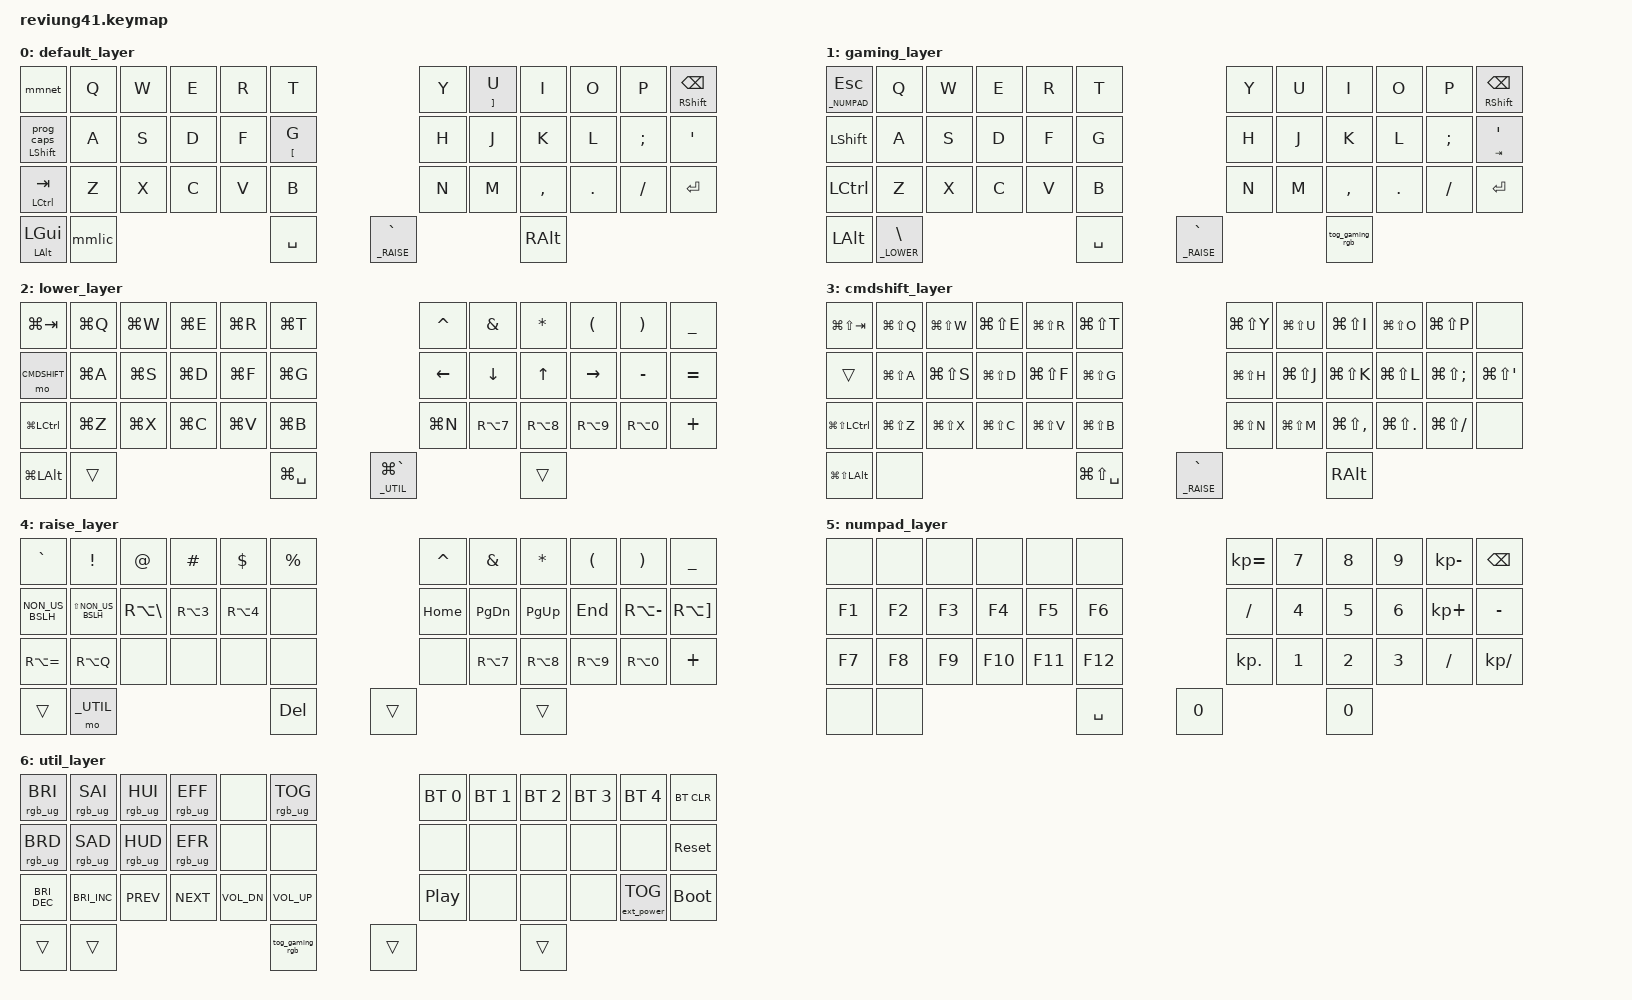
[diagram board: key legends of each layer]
/*
 * Copyright (c) 2020 The ZMK Contributors
 *
 * SPDX-License-Identifier: MIT
 */

#include <behaviors.dtsi>
#include <dt-bindings/zmk/keys.h>
#include <dt-bindings/zmk/bt.h>
#include <dt-bindings/zmk/rgb.h>
#include <dt-bindings/zmk/ext_power.h>

// For QMK:
// KC_NONUS_BSLASH (\|) is equivalent to ["é] key in Turkish keyboards.
// KC_GRV (~ `) is equivalent to [<>|] key in Turkish keyboards.
// KC_SCLN is Turkish s [şŞ] key
// KC_QUOT is Turkish i [iİ] key
// KC_COMM is Turkish o [öÖ] key
// KC_DOT is Turkish c [çÇ] key

// For ZMK:
// NON_US_BACKSLASH (\|) is equivalent to ["é] key in Turkish keyboards.
// GRAVE (~ `) is equivalent to [<>|] key in Turkish keyboards.
// SEMI (;) is Turkish s [şŞ] key
// SQT (') is Turkish i [iİ] key
// COMMA (,) is Turkish o [öÖ] key
// DOT (.) is Turkish c [çÇ] key
// FSLH (/) is Turkish dot [.:] key
// BSLH (\) is Turkish comma (,;) key

// Custom shortcuts specific to Turkish layout
#define _CURLY_OPEN RA(N7)
#define _CURLY_CLOSE RA(N0)
#define _AT_SIGN RA(Q)
#define _SQUARE_OPEN RA(N8)
#define _SQUARE_CLOSE RA(N9)
#define _DOLLAR_SIGN RA(N4)
#define _BACKSLASH RA(MINUS)
#define _VERTICAL_PIPE RA(EQUAL)
#define _BACKTICK RA(BACKSLASH)
#define _TILDE RA(RIGHT_BRACKET)
#define _NUMBER_SIGN RA(N3) //hashtag sign
#define _LOCKSCREEN LC(LS(C_PWR)) // Screen Lock shortcut for OSX

// Layers
#define _QWERTY 0
#define _GAMING 1
#define _LOWER 2
#define _CMDSHIFT 3
#define _RAISE 4
#define _NUMPAD 5
#define _UTIL 6


/ {
        behaviors {
                h_alt: hold_alternative {
                        compatible = "zmk,behavior-hold-tap";
                        #binding-cells = <2>;
                        tapping-term-ms = <130>;
                        quick-tap-ms = <0>;
                        flavor = "tap-preferred";
                        bindings = <&kp>, <&kp>;
                };
                hom: hold_only_multiple {
                        compatible = "zmk,behavior-hold-tap";
                        #binding-cells = <2>;
                        flavor = "tap-unless-interrupted";
                        tapping-term-ms = <300>;                        // <---[[produces tap if held longer than tapping-term-ms]]
                        quick-tap-ms = <200>;
                        bindings = <&kp>, <&kp>;
                };
                optcmd: option_command {
                        compatible = "zmk,behavior-mod-morph";
                        #binding-cells = <0>;
                        bindings = <&mmlic>, <&kp LGUI>;
                        mods = <(MOD_LALT)>;
                };
                procmd: pro_command {
                        compatible = "zmk,behavior-hold-tap";
                        #binding-cells = <2>;
                        tapping-term-ms = <1000>;
                        quick-tap-ms = <150>;
                        flavor = "balanced";
                        bindings = <&mo>, <&kp>;
                        hold-while-undecided;
                };
                mmlic: mm_lower_instant_comma {
                        compatible = "zmk,behavior-mod-morph";
                        #binding-cells = <0>;
                        bindings = <&lt _LOWER BSLH>, <&kp BSLH>;
                        mods = <(MOD_RSFT)>;
                        keep-mods = <(MOD_RSFT)>;
                }; 
                mmnet: mm_numpad_escape_tab {
                        compatible = "zmk,behavior-mod-morph";
                        #binding-cells = <0>;
                        bindings = <&lt _NUMPAD ESC>, <&kp TAB>;
                        mods = <(MOD_LALT|MOD_LSFT|MOD_LCTL|MOD_LGUI)>;
                        keep-mods = <(MOD_LALT|MOD_LSFT|MOD_LCTL|MOD_LGUI)>;
                }; 
                prog_caps: behavior_prog_caps_word {
                        compatible = "zmk,behavior-caps-word";
                        #binding-cells = <0>;
                        continue-list = <PLUS>;
                };
                mt_cw: mod_tap_caps_word {
                        compatible = "zmk,behavior-hold-tap";
                        #binding-cells = <2>;
                        tapping-term-ms = <100>;
                        flavor = "hold-preferred";
                        bindings = <&kp>, <&prog_caps>;
                };
                fmt: faster_mod_tap {
                        compatible = "zmk,behavior-hold-tap";
                        #binding-cells = <2>;
                        tapping-term-ms = <100>;
                        flavor = "hold-preferred";
                        bindings = <&kp>, <&kp>;
                };

                tog_gaming_rgb: tog_gaming_rgb {
                compatible = "zmk,behavior-macro";
                #binding-cells = <0>;
                wait-ms = <0>;
                tap-ms = <0>;
                bindings =
                        <&macro_tap &tog _GAMING>,
                        <&macro_tap &rgb_ug RGB_TOG>;
                };
        };



        keymap {
                compatible = "zmk,keymap";

                default_layer {
// -------------------------------------------------------------------------------------
// |Npd/ESC/T|  Q  |  W  |  E  |  R  |  T  |   |  Y  |  U/Ü |  I  |  O  |  P  | RSft/BKSP|
// |Sft/Cps  |  A  |  S  |  D  |  F  | G/Ğ |   |  H  |  J   |  K  |  L  |  Ş  |    İ     |
// |LCtlTab  |  Z  |  X  |  C  |  V  |  B  |   |  N  |  M   |  Ö  |  Ç  |  .  | RCtlEnt  |
//                      |LGUI/ALT | LWR/, |  SPC  | RSE/"  | ALT  |
                        bindings = <
   &mmnet  &kp Q  &kp W  &kp E  &kp R  &kp T                &kp Y  &h_alt RIGHT_BRACKET U  &kp I  &kp O  &kp P  &hom RSHFT BSPC
   &mt_cw LSHFT 0  &kp A  &kp S  &kp D  &kp F  &h_alt LEFT_BRACKET G      &kp H  &kp J  &kp K  &kp L  &kp SEMI  &kp SQT
   &fmt LCTRL TAB  &kp Z  &kp X  &kp C  &kp V  &kp B                 &kp N  &kp M  &kp COMMA  &kp DOT  &kp FSLH  &kp RET
        &h_alt LALT LGUI        &mmlic      &kp SPACE    &lt _RAISE GRAVE    &kp RALT
                        >;
                };


                gaming_layer {
// -------------------------------------------------------------------------------------
// |Npd/ESC/T|  Q  |  W  |  E  |  R  |  T  |   |  Y  |  U   |  I  |  O  |  P  | RSft/BKSP|
// |  Sft    |  A  |  S  |  D  |  F  |  G  |   |  H  |  J   |  K  |  L  |  Ş  |   İ/TAB  |
// |  LCtl   |  Z  |  X  |  C  |  V  |  B  |   |  N  |  M   |  Ö  |  Ç  |  .  | RCtlEnt  |
//                     |   ALT   | LWR/, |  SPC  |  RSE/"  | Tog Gaming  |
                        bindings = <
   &lt _NUMPAD ESC  &kp Q  &kp W  &kp E  &kp R  &kp T                &kp Y  &kp U  &kp I  &kp O  &kp P  &hom RSHFT BSPC
   &kp LSHFT &kp A  &kp S  &kp D  &kp F  &kp G      &kp H  &kp J  &kp K  &kp L  &kp SEMI  &h_alt TAB SQT
   &kp LCTRL &kp Z  &kp X  &kp C  &kp V  &kp B                 &kp N  &kp M  &kp COMMA  &kp DOT  &kp FSLH  &kp RET
        &kp LALT       &lt _LOWER BSLH          &kp SPACE    &lt _RAISE GRAVE       &tog_gaming_rgb
                        >;
                };
/*

                lower_layer {
// -------------------------------------------------------------------------------
// |  "  |  !  |  '  |  ^  |  +  |  %  |   |  &  |  /  |  (  |  )  |  =  |   ?   |
// |  <  |  >  |  `  |  #  |  $  |     |   |Left |Down | Up  |Right|  *  |   -   |            // &kp LEFT_BRACKET  &kp RIGHT_BRACKET for Ğ and Ü
// | "|" |  @  |     |     |     |     |   |     | "{" | "[" | "]" | "}" |   _   |
//                       |      |    |  DEL | UTIL | F14 |
                        bindings = <
   &kp GRAVE     &kp EXCL  &kp AT  &kp HASH  &kp DLLR  &kp PRCNT                                       &kp CARET  &kp AMPS  &kp ASTERISK  &kp LPAR &kp RPAR  &kp UNDERSCORE
   &kp NON_US_BSLH  &kp LS(NON_US_BSLH) &kp _BACKTICK  &kp _NUMBER_SIGN  &kp _DOLLAR_SIGN  &none        &kp LEFT  &kp DOWN  &kp UP  &kp RIGHT &kp MINUS  &kp EQUAL
   &kp _VERTICAL_PIPE  &kp _AT_SIGN  &none  &none  &none  &none                                                       &none  &kp _CURLY_OPEN  &kp _SQUARE_OPEN  &kp _SQUARE_CLOSE  &kp _CURLY_CLOSE  &kp PLUS
                                                      &kp LGUI  &trans    &kp DEL    &mo _UTIL  &trans
                        >;
                };
*/

                lower_layer {
// -------------------------------------------------------------------------------
// |  "  |  !  |  '  |  ^  |  +  |  %  |   |  &  |  /  |  (  |  )  |  =  |   ?   |
// |  <  |  >  |  `  |  #  |  $  |     |   |Left |Down | Up  |Right|  *  |   -   |            // &kp LEFT_BRACKET  &kp RIGHT_BRACKET for Ğ and Ü
// | "|" |  @  |     |     |     |     |   |     | "{" | "[" | "]" | "}" |   _   |
//                       |      |    |  DEL | UTIL | F14 |
                        bindings = <
   &kp LG(TAB)     &kp LG(Q)  &kp LG(W)  &kp LG(E)  &kp LG(R)  &kp LG(T)                    &kp CARET  &kp AMPS  &kp ASTERISK  &kp LPAR &kp RPAR  &kp UNDERSCORE
   &mo _CMDSHIFT &kp LG(A) &kp LG(S) &kp LG(D) &kp LG(F) &kp LG(G)                     &kp LEFT  &kp DOWN  &kp UP  &kp RIGHT &kp MINUS  &kp EQUAL
   &kp LG(LCTRL)  &kp LG(Z) &kp LG(X) &kp LG(C) &kp LG(V) &kp LG(B)                  &kp LG(N)  &kp _CURLY_OPEN  &kp _SQUARE_OPEN  &kp _SQUARE_CLOSE  &kp _CURLY_CLOSE  &kp PLUS
                                             &kp LG(LALT)  &trans    &kp LG(SPACE)    &lt _UTIL LG(GRAVE) &trans
                        >;
                };

                cmdshift_layer {
// -------------------------------------------------------------------------------------
// |Npd/ESC/T|  Q  |  W  |  E  |  R  |  T  |   |  Y  |  U/Ü |  I  |  O  |  P  | RSft/BKSP|
// |Sft/Cps  |  A  |  S  |  D  |  F  | G/Ğ |   |  H  |  J   |  K  |  L  |  Ş  |    İ     |
// |LCtlTab  |  Z  |  X  |  C  |  V  |  B  |   |  N  |  M   |  Ö  |  Ç  |  .  | RCtlEnt  |
//                      |LGUI/ALT | LWR/, |  SPC  | RSE/"  | ALT  |
                        bindings = <
   &kp LG(LS(TAB))  &kp LG(LS(Q))  &kp LG(LS(W))  &kp LG(LS(E))  &kp LG(LS(R))  &kp LG(LS(T))                &kp LG(LS(Y))  &kp LG(LS(U))  &kp LG(LS(I))  &kp LG(LS(O))  &kp LG(LS(P))  &none
   &trans        &kp LG(LS(A))  &kp LG(LS(S))  &kp LG(LS(D))  &kp LG(LS(F))  &kp LG(LS(G))                  &kp LG(LS(H))  &kp LG(LS(J))  &kp LG(LS(K))  &kp LG(LS(L))  &kp LG(LS(SEMI))  &kp LG(LS(SQT))
   &kp LG(LS(LCTRL)) &kp LG(LS(Z))  &kp LG(LS(X))  &kp LG(LS(C))  &kp LG(LS(V))  &kp LG(LS(B))           &kp LG(LS(N))  &kp LG(LS(M))  &kp LG(LS(COMMA))  &kp LG(LS(DOT))  &kp LG(LS(FSLH))  &none
                          &kp LG(LS(LALT))        &none          &kp LG(LS(SPACE))    &lt _RAISE GRAVE    &kp RALT
                        >;
                };

                raise_layer {
// -------------------------------------------------------------------------------
// |  "  |  !  |  '  |  ^  |  +  |  %  |   |  &  |  /  |  (  |  )  |  =  |   ?   |
// |  <  |  >  |  `  |  #  |  $  |     |   |Home |PgDwn|PgUp |End  | "\" |  "~"  |
// | "|" |  @  |     |     |     |     |   |     | "{" | "[" | "]" | "}" |   _   |
//                       |     | UTIL | DEL |    |     |
                        bindings = <
   &kp GRAVE     &kp EXCL  &kp AT  &kp HASH  &kp DLLR  &kp PRCNT                                       &kp CARET  &kp AMPS  &kp ASTERISK  &kp LPAR &kp RPAR  &kp UNDERSCORE
   &kp NON_US_BSLH  &kp LS(NON_US_BSLH) &kp _BACKTICK  &kp _NUMBER_SIGN  &kp _DOLLAR_SIGN  &none        &kp HOME  &kp PAGE_DOWN  &kp PAGE_UP  &kp END &kp _BACKSLASH  &kp _TILDE
   &kp _VERTICAL_PIPE  &kp _AT_SIGN  &none  &none  &none  &none                                                       &none  &kp _CURLY_OPEN  &kp _SQUARE_OPEN  &kp _SQUARE_CLOSE  &kp _CURLY_CLOSE  &kp PLUS
                                                        &trans  &mo _UTIL    &kp DEL    &trans    &trans 
                        >;
                };

                // KP_DOT is comma on the Turkish layout ¯\_(ツ)_/¯
                numpad_layer {
// -----------------------------------------------------------------------------------------
// |     |     |     |     |     |     |   |  =  |Num7 |Num8 |Num9 |  -  |Bcksp |
// | F1  | F2  | F3  | F4  | F5  | F6  |   |  .  |Num4 |Num5 |Num6 |  +  |  *   |
// | F7  | F8  | F9  | F10 | F11 | F12 |   |  ,  |Num1 |Num2 |Num3 |  .  |  /   |
//                   |      |     | SPC |  Num0  |  Num0   |
                        bindings = <
   &none  &none  &none  &none  &none  &none                     &kp KP_EQUAL  &kp N7  &kp N8  &kp N9  &kp KP_MINUS  &kp BSPC
   &kp F1  &kp F2  &kp F3  &kp F4  &kp F5  &kp F6                     &kp SLASH  &kp N4  &kp N5  &kp N6  &kp KP_PLUS  &kp MINUS
   &kp F7  &kp F8  &kp F9  &kp F10  &kp F11  &kp F12                     &kp KP_DOT &kp N1  &kp N2  &kp N3  &kp SLASH  &kp KP_SLASH
                                &none  &none    &kp SPACE   &kp N0   &kp N0 
                        >;
                };

                util_layer {
// -----------------------------------------------------------------------------------------
// | RGB BRI+ | RGB SAT+ | RGB HUE+ | RGB ANI+ |    | RGB TOG |   |  BT1  | BT2 | BT3 | BT4 | BT5   |  BT CLR  |
// | RGB BRI- | RGB SAT- | RGB HUE- | RGB ANI+ |    |         |   |       |     |     |     |       |  RESET   |
// |   Brgt▼  |  Brgt▲   |   Prev   |   Next   |Vol-|    Vol+ |   |PlayPse|     |     |     |TOG PWR|BOOTLOADER|
//                               |     |     |Tog Gaming|     |     |
                        bindings = <
   &rgb_ug RGB_BRI &rgb_ug RGB_SAI &rgb_ug RGB_HUI &rgb_ug RGB_EFF &none &rgb_ug RGB_TOG    &bt BT_SEL 0 &bt BT_SEL 1 &bt BT_SEL 2 &bt BT_SEL 3 &bt BT_SEL 4 &bt BT_CLR
   &rgb_ug RGB_BRD &rgb_ug RGB_SAD &rgb_ug RGB_HUD &rgb_ug RGB_EFR &none &none              &none        &none        &none        &none        &none        &sys_reset
   &kp C_BRI_DEC  &kp C_BRI_INC  &kp C_PREV &kp C_NEXT  &kp C_VOL_DN &kp C_VOL_UP           &kp C_PLAY_PAUSE  &none        &none        &none    &ext_power EP_TOG        &bootloader
                                                      &trans      &trans       &tog_gaming_rgb        &trans      &trans
                        >;
                };
        };
};
